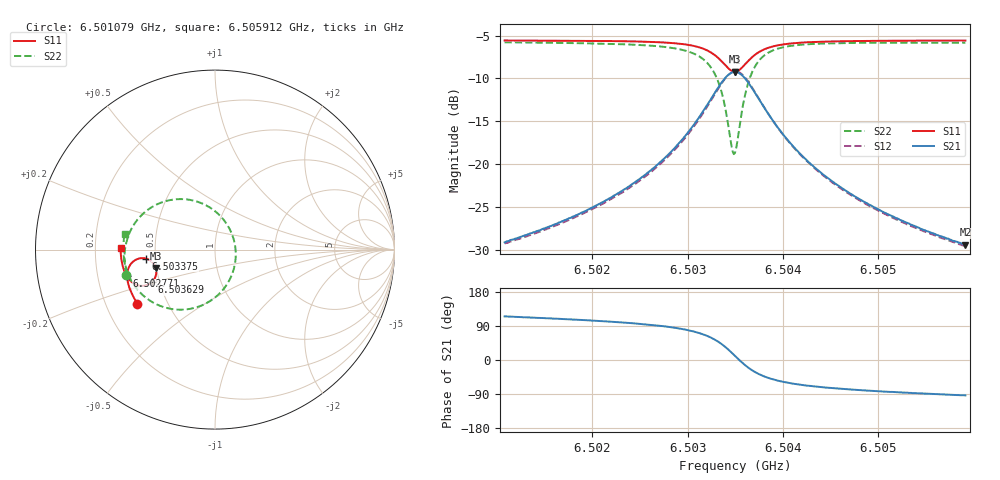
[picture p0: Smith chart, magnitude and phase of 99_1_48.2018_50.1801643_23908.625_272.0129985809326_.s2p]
#  HZ  S  RI  R  50.00
! Rohde & Schwarz Vector Network Analyzer
! Rohde-Schwarz,ZNB20-2Port,1311601062101988,3.16
! Created: UTC 3/20/2024, 11:40:30 AM
! freq[Hz]  re:S11  im:S11  re:S21  im:S21  re:S12  im:S12  re:S22  im:S22
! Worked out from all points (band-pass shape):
!   401 points, 6.501079 GHz to 6.505912 GHz, reference 50 ohm
!   highest |S21| = -9.25 dB at 6.503496 GHz (marker M1); lowest = -29.4 dB at 6.505912 GHz (marker M2)
!   |S21| within 3 dB of the highest: 6.503252 GHz to 6.503736 GHz (484 kHz wide, 0.00744 % of centre)
!   lowest |S11| = -9.2 dB at 6.503496 GHz (marker M3), VSWR 2.06, Z = 24.7 - j5.79 ohm
!   |S11| at or under -10 dB: nowhere
!   |S22| runs from -18.9 to -5.8 dB; largest |S21 - S12| = 0.012
!   S11 on the Smith chart (normalised r, x): 6.501079 GHz: 0.34, -0.28; 6.502771 GHz: 0.33, -0.13; 6.503375 GHz: 0.44, -0.05; 6.503629 GHz: 0.45, -0.20; 6.505912 GHz: 0.31, +0.01
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6.501079e9  -0.4321 -0.3006  -0.0147 0.0316  -0.0131 0.0317  -0.4937 -0.1413
6.5018886e9  -0.466 -0.2396  -0.0141 0.0501  -0.0116 0.0495  -0.5044 -0.0526
6.5023357e9  -0.4812 -0.199  -0.0106 0.0702  -0.00768 0.069  -0.4998 0.0134
6.5026982e9  -0.4891 -0.1577  -0.00109 0.1008  0.00274 0.0984  -0.4781 0.0895
6.5027707e9  -0.4896 -0.1478  0.00312 0.1099  0.00689 0.107  -0.4689 0.109
6.5029761e9  -0.4857 -0.1143  0.0251 0.1442  0.0287 0.1398  -0.4231 0.1771
6.5031331e9  -0.4704 -0.0819  0.0656 0.1808  0.0682 0.1748  -0.3442 0.2412
6.5032781e9  -0.4315 -0.0524  0.1493 0.2094  0.1498 0.2031  -0.1916 0.2814
6.5033265e9  -0.4098 -0.0477  0.1928 0.2077  0.1927 0.202  -0.1153 0.2718
6.5033748e9  -0.3841 -0.05  0.2425 0.1916  0.2426 0.1869  -0.0301 0.2357
6.5034594e9  -0.3407 -0.0804  0.3214 0.1146  0.3239 0.1103  0.0956 0.0835
6.5034956e9  -0.33 -0.103  0.3388 0.0647  0.3424 0.0592  0.1156 -0.0103
6.5035198e9  -0.3271 -0.1196  0.3418 0.0294  0.3458 0.0226  0.1122 -0.0749
6.5035561e9  -0.3297 -0.144  0.3338 -0.0215  0.3372 -0.0304  0.0829 -0.165
6.5036286e9  -0.3525 -0.1816  0.2855 -0.0983  0.2854 -0.11  -0.0305 -0.2887
6.5037252e9  -0.3939 -0.2011  0.2058 -0.1413  0.201 -0.1518  -0.1927 -0.3347
6.5038823e9  -0.4436 -0.1936  0.1169 -0.1402  0.1095 -0.1459  -0.3546 -0.2892
6.5040515e9  -0.4731 -0.1724  0.0685 -0.1192  0.0617 -0.1214  -0.4334 -0.2209
6.5043052e9  -0.4955 -0.141  0.035 -0.092  0.0301 -0.0923  -0.4814 -0.1422
6.5046677e9  -0.5112 -0.1024  0.0156 -0.0675  0.012 -0.0671  -0.5044 -0.066
6.5051148e9  -0.5207 -0.0603  0.00515 -0.0502  0.00293 -0.0494  -0.5109 -0.000138
6.5059123e9  -0.526 0.00775  -0.002 -0.0337  -0.00345 -0.0329  -0.5035 0.0866
